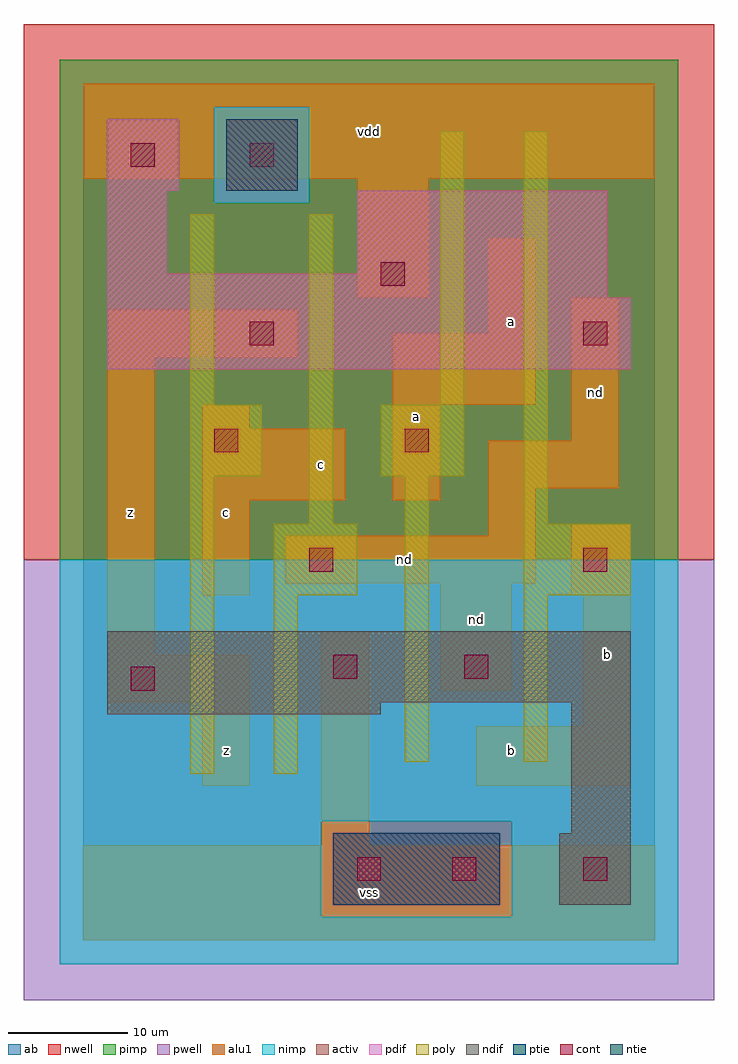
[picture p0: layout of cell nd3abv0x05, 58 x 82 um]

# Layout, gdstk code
import gdstk
lib = gdstk.Library(unit=1e-6, precision=1e-09)
def R(c, l, rs):  # rectangles x0, y0, x1, y1
    for r in rs: c.add(gdstk.rectangle(r[:2], r[2:], *l))
ndif = (3, 0)
pdif = (4, 0)
ntie = (5, 0)
ptie = (6, 0)
cont = (25, 0)
pwell = (41, 0)
nwell = (42, 0)
activ = (43, 0)
pimp = (44, 0)
nimp = (45, 0)
poly = (46, 0)
alu1 = (49, 0)
ab = (63, 0)

nd3abv0x05 = lib.new_cell('nd3abv0x05')
R(nd3abv0x05, ndif, [(40,3,46,9), (41,9,46,20), (2,19,25,20), (2,20,46,26)])
R(nd3abv0x05, pdif, [(2,48,46,54), (2,54,44,56), (2,56,7,63), (23,56,44,63), (2,63,8,69)])
R(nd3abv0x05, ntie, [(12,63,18,69)])
R(nd3abv0x05, ptie, [(21,3,35,9)])
R(nd3abv0x05, cont, [(23,5,25,7), (31,5,33,7), (42,5,44,7), (4,21,6,23), (21,22,23,24), (32,22,34,24), (19,31,21,33), (42,31,44,33), (11,41,13,43), (27,41,29,43), (14,50,16,52), (42,50,44,52), (25,55,27,57), (4,65,6,67), (14,65,16,67)])
R(nd3abv0x05, pwell, [(-5,-5,53,32)])
R(nd3abv0x05, nwell, [(-5,32,53,77)])
R(nd3abv0x05, activ, [(21,3,35,9), (40,3,46,9), (41,9,46,20), (2,19,25,20), (2,20,46,26), (2,48,46,54), (2,54,44,56), (2,56,7,63), (23,56,44,63), (2,63,8,69), (12,63,18,69)])
R(nd3abv0x05, pimp, [(20,2,36,10), (-2,32,50,62), (-2,62,11,70), (19,62,50,70), (-2,70,50,74)])
R(nd3abv0x05, nimp, [(-2,-2,50,2), (-2,2,20,10), (36,2,50,10), (-2,10,50,32), (11,62,19,70)])
R(nd3abv0x05, poly, [(9,14,11,39), (16,14,18,29), (27,15,29,39), (37,15,39,29), (16,29,23,35), (37,29,46,35), (19,35,21,61), (37,35,39,68), (9,39,15,45), (25,39,32,45), (9,45,11,61), (30,45,32,68)])
R(nd3abv0x05, alu1, [(0,0,48,8), (20,8,24,26), (10,13,14,20), (33,13,46,18), (42,18,46,29), (2,20,14,24), (30,21,36,30), (2,24,6,49), (10,29,14,37), (41,29,46,35), (17,30,38,34), (34,34,38,38), (10,37,22,43), (26,37,30,45), (34,38,45,42), (41,42,45,54), (10,43,14,45), (26,45,38,51), (2,49,18,53), (34,51,38,59), (23,54,29,64), (0,64,48,72)])
R(nd3abv0x05, ab, [(0,0,48,72)])
nd3abv0x05.add(gdstk.Label('nd', (33,27), layer=49, texttype=0))
nd3abv0x05.add(gdstk.Label('nd', (27,32), layer=49, texttype=0))
nd3abv0x05.add(gdstk.Label('nd', (43,46), layer=49, texttype=0))
nd3abv0x05.add(gdstk.Label('z', (4,36), layer=49, texttype=0))
nd3abv0x05.add(gdstk.Label('z', (12,16), layer=49, texttype=0))
nd3abv0x05.add(gdstk.Label('c', (20,40), layer=49, texttype=0))
nd3abv0x05.add(gdstk.Label('c', (12,36), layer=49, texttype=0))
nd3abv0x05.add(gdstk.Label('vss', (24,4), layer=49, texttype=0))
nd3abv0x05.add(gdstk.Label('a', (28,44), layer=49, texttype=0))
nd3abv0x05.add(gdstk.Label('vdd', (24,68), layer=49, texttype=0))
nd3abv0x05.add(gdstk.Label('b', (36,16), layer=49, texttype=0))
nd3abv0x05.add(gdstk.Label('b', (44,24), layer=49, texttype=0))
nd3abv0x05.add(gdstk.Label('a', (36,52), layer=49, texttype=0))

lib.write_gds('nd3abv0x05.gds')
